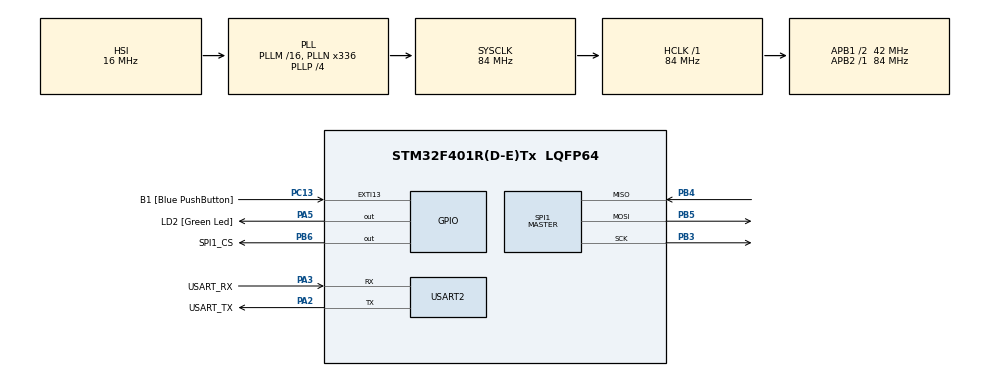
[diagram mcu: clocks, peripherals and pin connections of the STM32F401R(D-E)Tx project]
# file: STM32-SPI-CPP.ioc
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Mcu.Family=STM32F4
Mcu.Name=STM32F401R(D-E)Tx
Mcu.Package=LQFP64
NVIC.PriorityGroup=NVIC_PRIORITYGROUP_0
NVIC.TIM1_TRG_COM_TIM11_IRQn=true\:0\:0\:false\:false\:true\:true\:true
PA13.GPIO_Label=TMS
PA13.Mode=Serial_Wire
PA13.Signal=SYS_JTMS-SWDIO
PA14.GPIO_Label=TCK
PA14.Mode=Serial_Wire
PA14.Signal=SYS_JTCK-SWCLK
PA2.GPIO_Label=USART_TX
PA2.GPIO_Mode=GPIO_MODE_AF_PP
PA2.GPIO_PuPd=GPIO_NOPULL
PA2.GPIO_Speed=GPIO_SPEED_FREQ_LOW
PA2.Mode=Asynchronous
PA2.Signal=USART2_TX
PA3.GPIO_Label=USART_RX
PA3.GPIO_Mode=GPIO_MODE_AF_PP
PA3.GPIO_PuPd=GPIO_NOPULL
PA3.GPIO_Speed=GPIO_SPEED_FREQ_LOW
PA3.Mode=Asynchronous
PA3.Signal=USART2_RX
PA5.GPIO_Label=LD2 [Green Led]
PA5.GPIO_Mode=GPIO_MODE_OUTPUT_PP
PA5.GPIO_PuPd=GPIO_NOPULL
PA5.GPIO_Speed=GPIO_SPEED_FREQ_LOW
PA5.Signal=GPIO_Output
PB3.Mode=Full_Duplex_Master
PB3.Signal=SPI1_SCK
PB4.Mode=Full_Duplex_Master
PB4.Signal=SPI1_MISO
PB5.Mode=Full_Duplex_Master
PB5.Signal=SPI1_MOSI
PB6.GPIO_Label=SPI1_CS
PB6.GPIO_Speed=GPIO_SPEED_FREQ_HIGH
PB6.PinState=GPIO_PIN_SET
PB6.Signal=GPIO_Output
PC13-ANTI_TAMP.GPIO_Label=B1 [Blue PushButton]
PC13-ANTI_TAMP.GPIO_ModeDefaultEXTI=GPIO_MODE_IT_FALLING
PC13-ANTI_TAMP.GPIO_PuPd=GPIO_NOPULL
PC13-ANTI_TAMP.Signal=GPXTI13
PC14-OSC32_IN.Mode=LSE-External-Oscillator
PC14-OSC32_IN.Signal=RCC_OSC32_IN
PC15-OSC32_OUT.Mode=LSE-External-Oscillator
PC15-OSC32_OUT.Signal=RCC_OSC32_OUT
PH0\ -\ OSC_IN.Mode=HSE-External-Clock-Source
PH0\ -\ OSC_IN.Signal=RCC_OSC_IN
PH1\ -\ OSC_OUT.Mode=HSE-External-Clock-Source
PH1\ -\ OSC_OUT.Signal=RCC_OSC_OUT
ProjectManager.HeapSize=0x200
ProjectManager.StackSize=0x400
ProjectManager.TargetToolchain=STM32CubeIDE
RCC.48MHZClocksFreq_Value=48000000
RCC.AHBFreq_Value=84000000
RCC.APB1CLKDivider=RCC_HCLK_DIV2
RCC.APB1Freq_Value=42000000
RCC.APB1TimFreq_Value=84000000
RCC.APB2Freq_Value=84000000
RCC.APB2TimFreq_Value=84000000
RCC.CortexFreq_Value=84000000
RCC.HCLKFreq_Value=84000000
RCC.HSE_VALUE=8000000
RCC.HSI_VALUE=16000000
RCC.PLLN=336
RCC.PLLP=RCC_PLLP_DIV4
RCC.PLLQ=7
RCC.SYSCLKFreq_VALUE=84000000
RCC.SYSCLKSource=RCC_SYSCLKSOURCE_PLLCLK
RCC.VCOOutputFreq_Value=336000000
SPI1.BaudRatePrescaler=SPI_BAUDRATEPRESCALER_128
SPI1.Direction=SPI_DIRECTION_2LINES
SPI1.Mode=SPI_MODE_MASTER
SPI1.VirtualType=VM_MASTER
TIM11.Period=40-1
TIM11.Prescaler=8400-1
USART2.VirtualMode=VM_ASYNC
VP_TIM11_VS_ClockSourceINT.Mode=Enable_Timer
board=NUCLEO-F401RE

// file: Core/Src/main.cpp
/* USER CODE BEGIN Header */
/**
  ******************************************************************************
  * @file           : main.c
  * @brief          : Main program body
  ******************************************************************************
  * @attention
  *
  * Copyright (c) 2022 STMicroelectronics.
  * All rights reserved.
  *
  * This software is licensed under terms that can be found in the LICENSE file
  * in the root directory of this software component.
  * If no LICENSE file comes with this software, it is provided AS-IS.
  *
  ******************************************************************************
  */
/* USER CODE END Header */
#include "main.h"
#include "spi.h"
#include "tim.h"
#include "usart.h"
#include "gpio.h"

/* USER CODE BEGIN Includes */
#include "MPU9250.h"
#include "string.h"
#include "stdio.h"
/* USER CODE END Includes */

/* USER CODE BEGIN PD */
#define TRUE  1
#define FALSE 0
/* USER CODE END PD */

/* USER CODE BEGIN PV */
uint8_t serialBuf[100];
Attitude attitude;
/* USER CODE END PV */

void SystemClock_Config(void);

/* USER CODE BEGIN 0 */
MPU9250 imu(&hspi1, GPIOB, GPIO_PIN_6, GFSR_500DPS, AFSR_4G, 0.98, 0.004);
/* USER CODE END 0 */

int main(void)
{

  /* MCU Configuration--------------------------------------------------------*/

  /* Reset of all peripherals, Initializes the Flash interface and the Systick. */
  HAL_Init();

  /* Configure the system clock */
  SystemClock_Config();

  /* Initialize all configured peripherals */
  MX_GPIO_Init();
  MX_USART2_UART_Init();
  MX_SPI1_Init();
  MX_TIM11_Init();
  /* USER CODE BEGIN 2 */

  // Check if IMU configured properly and block if it didn't
  if (imu.begin() != TRUE)
  {
    sprintf((char *)serialBuf, "ERROR!\r\n");
    HAL_UART_Transmit(&huart2, serialBuf, strlen((char *)serialBuf), HAL_MAX_DELAY);
    while (1){}
  }

  // Calibrate the IMU
  sprintf((char *)serialBuf, "CALIBRATING...\r\n");
  HAL_UART_Transmit(&huart2, serialBuf, strlen((char *)serialBuf), HAL_MAX_DELAY);
  imu.calibrateGyro(1500);

  // Start timer and put processor into an efficient low power mode
  HAL_TIM_Base_Start_IT(&htim11);
  HAL_PWR_EnableSleepOnExit();
  HAL_PWR_EnterSLEEPMode(PWR_MAINREGULATOR_ON, PWR_SLEEPENTRY_WFI);
  /* USER CODE END 2 */

  /* Infinite loop */
  /* USER CODE BEGIN WHILE */
  // while (1)
  // {
    /* USER CODE END WHILE */
    /* USER CODE BEGIN 3 */
  // }
  /* USER CODE END 3 */
}

void SystemClock_Config(void)
{
  RCC_OscInitTypeDef RCC_OscInitStruct = {0};
  RCC_ClkInitTypeDef RCC_ClkInitStruct = {0};

  /** Configure the main internal regulator output voltage
  */
  __HAL_RCC_PWR_CLK_ENABLE();
  __HAL_PWR_VOLTAGESCALING_CONFIG(PWR_REGULATOR_VOLTAGE_SCALE2);
  /** Initializes the RCC Oscillators according to the specified parameters
  * in the RCC_OscInitTypeDef structure.
  */
  RCC_OscInitStruct.OscillatorType = RCC_OSCILLATORTYPE_HSI;
  RCC_OscInitStruct.HSIState = RCC_HSI_ON;
  RCC_OscInitStruct.HSICalibrationValue = RCC_HSICALIBRATION_DEFAULT;
  RCC_OscInitStruct.PLL.PLLState = RCC_PLL_ON;
  RCC_OscInitStruct.PLL.PLLSource = RCC_PLLSOURCE_HSI;
  RCC_OscInitStruct.PLL.PLLM = 16;
  RCC_OscInitStruct.PLL.PLLN = 336;
  RCC_OscInitStruct.PLL.PLLP = RCC_PLLP_DIV4;
  RCC_OscInitStruct.PLL.PLLQ = 7;
  if (HAL_RCC_OscConfig(&RCC_OscInitStruct) != HAL_OK)
  {
    Error_Handler();
  }
  /** Initializes the CPU, AHB and APB buses clocks
  */
  RCC_ClkInitStruct.ClockType = RCC_CLOCKTYPE_HCLK|RCC_CLOCKTYPE_SYSCLK
                              |RCC_CLOCKTYPE_PCLK1|RCC_CLOCKTYPE_PCLK2;
  RCC_ClkInitStruct.SYSCLKSource = RCC_SYSCLKSOURCE_PLLCLK;
  RCC_ClkInitStruct.AHBCLKDivider = RCC_SYSCLK_DIV1;
  RCC_ClkInitStruct.APB1CLKDivider = RCC_HCLK_DIV2;
  RCC_ClkInitStruct.APB2CLKDivider = RCC_HCLK_DIV1;

  if (HAL_RCC_ClockConfig(&RCC_ClkInitStruct, FLASH_LATENCY_2) != HAL_OK)
  {
    Error_Handler();
  }
}

/* USER CODE BEGIN 4 */
void HAL_TIM_PeriodElapsedCallback(TIM_HandleTypeDef *htim)
{
  // Callback, timer has rolled over
  if (htim == &htim11)
  {
    HAL_ResumeTick();

    attitude = imu.calcAttitude();
    sprintf((char *)serialBuf, "%.1f,%.1f,%.1f\r\n", attitude.r, attitude.p, attitude.y);
    HAL_UART_Transmit(&huart2, serialBuf, strlen((char *)serialBuf), HAL_MAX_DELAY);

    HAL_SuspendTick();
  }
}
/* USER CODE END 4 */

void Error_Handler(void)
{
  __disable_irq();
  while (1)
  {
  }
}
